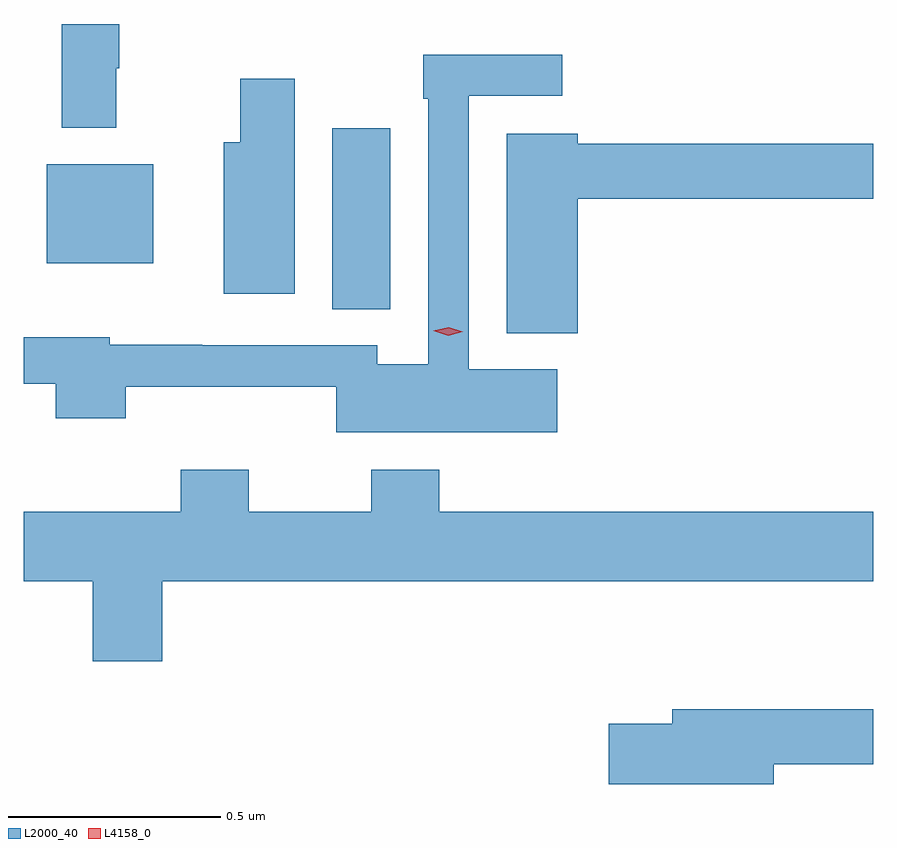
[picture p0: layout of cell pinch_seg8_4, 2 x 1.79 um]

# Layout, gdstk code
import gdstk
lib = gdstk.Library(unit=1e-6, precision=1e-09)
def R(c, l, rs):  # rectangles x0, y0, x1, y1
    for r in rs: c.add(gdstk.rectangle(r[:2], r[2:], *l))
def P(c, l, *ps):  # polygons
    for p in ps: c.add(gdstk.Polygon(p, *l))
L2000_40 = (2000, 40)
L4158_0 = (4158, 0)

pinch_seg8_4 = lib.new_cell('pinch_seg8_4')
R(pinch_seg8_4, L2000_40, [(1004.732,1134.457,1004.869,1134.883), (1004.06,1134.566,1004.311,1134.799)])
P(pinch_seg8_4, L2000_40, [(1004.224,1135.025),(1004.231,1135.025),(1004.231,1135.129),(1004.095,1135.129),(1004.095,1134.885),(1004.224,1134.885)],
  [(1005.262,1134.316),(1005.054,1134.316),(1005.054,1134.96),(1005.274,1134.96),(1005.274,1135.056),(1004.946,1135.056),(1004.946,1134.953),(1004.958,1134.953),(1004.958,1134.328),(1004.838,1134.328),(1004.838,1134.372),(1004.426,1134.372),(1004.426,1134.374),(1004.208,1134.374),(1004.208,1134.391),(1004.006,1134.391),(1004.006,1134.282),(1004.081,1134.282),(1004.081,1134.2),(1004.246,1134.2),(1004.246,1134.275),(1004.742,1134.275),(1004.742,1134.167),(1005.262,1134.167)],
  [(1004.644,1135),(1004.515,1135),(1004.515,1134.85),(1004.477,1134.85),(1004.477,1134.494),(1004.644,1134.494)],
  [(1005.31,1134.718),(1006.006,1134.718),(1006.006,1134.847),(1005.31,1134.847),(1005.31,1134.871),(1005.143,1134.871),(1005.143,1134.401),(1005.31,1134.401)],
  [(1004.332,1133.816),(1006.006,1133.816),(1006.006,1133.98),(1004.984,1133.98),(1004.984,1134.079),(1004.824,1134.079),(1004.824,1133.98),(1004.535,1133.98),(1004.535,1134.079),(1004.375,1134.079),(1004.375,1133.98),(1004.006,1133.98),(1004.006,1133.816),(1004.168,1133.816),(1004.168,1133.628),(1004.332,1133.628)],
  [(1005.772,1133.386),(1006.006,1133.386),(1006.006,1133.515),(1005.533,1133.515),(1005.533,1133.481),(1005.384,1133.481),(1005.384,1133.339),(1005.772,1133.339)])
P(pinch_seg8_4, L4158_0, [(1005.005,1134.395),(1004.97,1134.406),(1004.97,1134.407),(1004.97,1134.407),(1005.006,1134.415),(1005.04,1134.404),(1005.04,1134.404),(1005.04,1134.404)])

lib.write_gds('pinch_seg8_4.gds')
